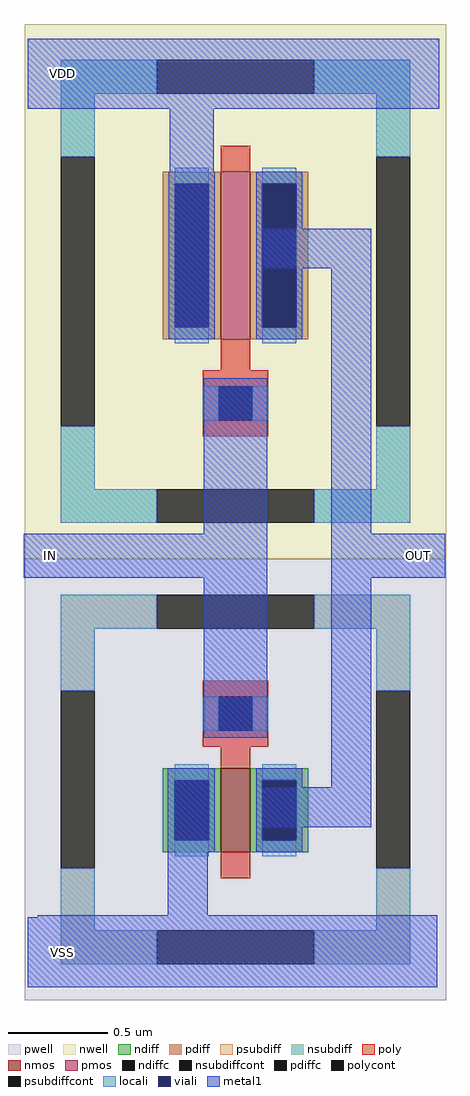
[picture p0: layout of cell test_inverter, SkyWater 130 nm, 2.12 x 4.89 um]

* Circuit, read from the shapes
.subckt test_inverter IN OUT VDD VSS
XM1 OUT IN VSS VSUBS sky130_fd_pr__nfet_01v8 w=0.42 l=0.15
XM2 OUT IN VDD n1 sky130_fd_pr__pfet_01v8 w=0.84 l=0.15
.ends

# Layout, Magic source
magic
tech sky130A
magscale 1 2
<< metal1 >>
rect -50 840 362 910
rect 92 612 136 840
rect 186 680 294 720
rect 126 414 190 570
rect -54 370 190 414
rect 126 210 190 370
rect 254 414 294 680
rect 254 370 368 414
rect 90 170 124 179
rect 90 32 130 170
rect 254 160 294 370
rect 180 120 294 160
rect -40 30 360 32
rect -50 -40 360 30
use sky130_fd_pr__nfet_01v8_EDL9KC  sky130_fd_pr__nfet_01v8_EDL9KC_0
transform 1 0 158 0 1 168
box -211 -221 211 221
use sky130_fd_pr__pfet_01v8_2MG8BZ  sky130_fd_pr__pfet_01v8_2MG8BZ_0
transform 1 0 158 0 1 657
box -211 -268 211 268
<< labels >>
flabel metal1 -54 370 0 414 0 FreeSans 160 0 0 0 IN
flabel metal1 314 370 368 414 0 FreeSans 160 0 0 0 OUT
flabel metal1 -50 -40 20 30 0 FreeSans 160 0 0 0 VSS
flabel metal1 -50 840 20 910 0 FreeSans 160 0 0 0 VDD
<< end >>

# cell sky130_fd_pr__nfet_01v8_EDL9KC: kit device sky130_fd_pr__nfet_01v8, w 0.420 l 0.150 m 1 nf 1 diffcov 100 polycov 100 guard 1 glc 1 grc 1 gtc 1 gbc 1 tbcov 100 rlcov 100 topc 1 botc 0 poverlap 0 doverlap 1 lmin 0.15 wmin 0.42 compatible {sky130_fd_pr__nfet_01v8 sky130_fd_pr__nfet_01v8_lvt sky130_fd_bs_flash__special_sonosfet_star sky130_fd_pr__nfet_g5v0d10v5 sky130_fd_pr__nfet_05v0_nvt sky130_fd_pr__nfet_03v3_nvt} full_metal 1 viasrc 100 viadrn 100 viagate 100 viagb 0 viagr 0 viagl 0 viagt 0

# cell sky130_fd_pr__pfet_01v8_2MG8BZ: kit device sky130_fd_pr__pfet_01v8, w 0.84 l 0.15 m 1 nf 1 diffcov 100 polycov 100 guard 1 glc 1 grc 1 gtc 1 gbc 1 tbcov 100 rlcov 100 topc 0 botc 1 poverlap 0 doverlap 1 lmin 0.15 wmin 0.42 compatible {sky130_fd_pr__pfet_01v8 sky130_fd_pr__pfet_01v8_lvt sky130_fd_pr__pfet_01v8_hvt sky130_fd_pr__pfet_g5v0d10v5} full_metal 1 viasrc 100 viadrn 100 viagate 100 viagb 0 viagr 0 viagl 0 viagt 0
